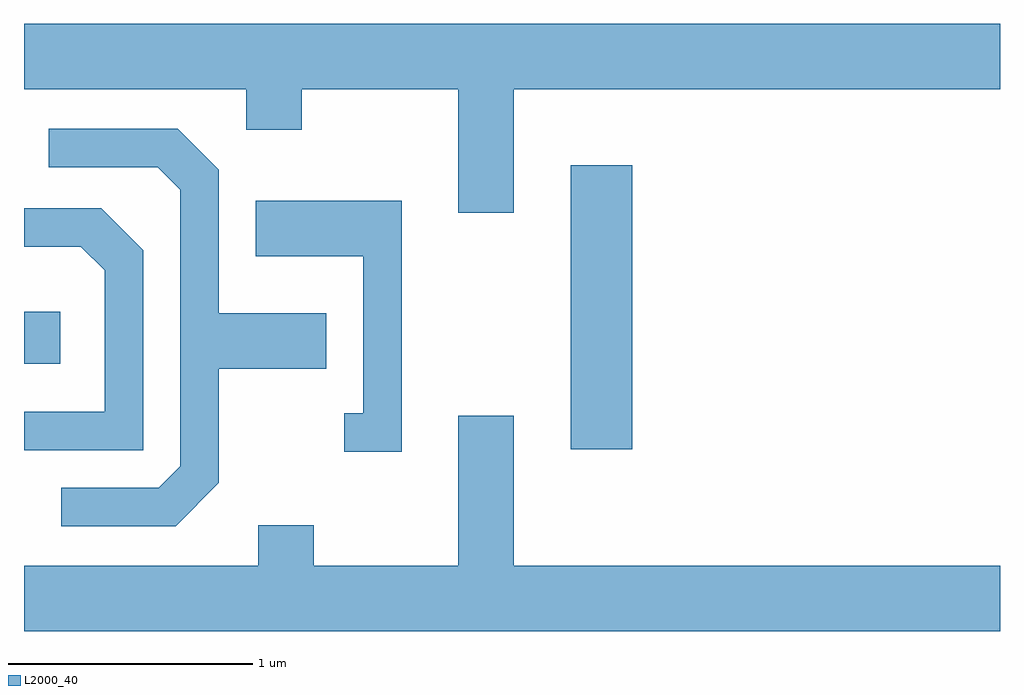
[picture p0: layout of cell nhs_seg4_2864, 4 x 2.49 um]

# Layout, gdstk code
import gdstk
lib = gdstk.Library(unit=1e-6, precision=1e-09)
def R(c, l, rs):  # rectangles x0, y0, x1, y1
    for r in rs: c.add(gdstk.rectangle(r[:2], r[2:], *l))
def P(c, l, *ps):  # polygons
    for p in ps: c.add(gdstk.Polygon(p, *l))
L2000_40 = (2000, 40)

nhs_seg4_2864 = lib.new_cell('nhs_seg4_2864')
R(nhs_seg4_2864, L2000_40, [(271.851,1271.061,272.104,1272.224), (269.611,1271.411,269.759,1271.624)])
P(nhs_seg4_2864, L2000_40, [(271.619,1272.536),(273.611,1272.536),(273.611,1272.804),(269.611,1272.804),(269.611,1272.536),(270.521,1272.536),(270.521,1272.371),(270.749,1272.371),(270.749,1272.536),(271.391,1272.536),(271.391,1272.031),(271.619,1272.031)],
  [(270.409,1270.924),(270.409,1271.391),(270.849,1271.391),(270.849,1271.619),(270.409,1271.619),(270.409,1272.207),(270.242,1272.374),(269.713,1272.374),(269.713,1272.216),(270.159,1272.216),(270.251,1272.124),(270.251,1270.992),(270.164,1270.904),(269.763,1270.904),(269.763,1270.746),(270.232,1270.746)],
  [(271.159,1272.079),(270.561,1272.079),(270.561,1271.851),(271.001,1271.851),(271.001,1271.209),(270.923,1271.209),(270.923,1271.051),(271.159,1271.051)],
  [(270.099,1271.877),(269.927,1272.049),(269.611,1272.049),(269.611,1271.891),(269.844,1271.891),(269.941,1271.794),(269.941,1271.214),(269.611,1271.214),(269.611,1271.056),(270.099,1271.056)],
  [(273.611,1270.584),(271.619,1270.584),(271.619,1271.199),(271.391,1271.199),(271.391,1270.584),(270.799,1270.584),(270.799,1270.749),(270.571,1270.749),(270.571,1270.584),(269.611,1270.584),(269.611,1270.316),(273.611,1270.316)])

lib.write_gds('nhs_seg4_2864.gds')
